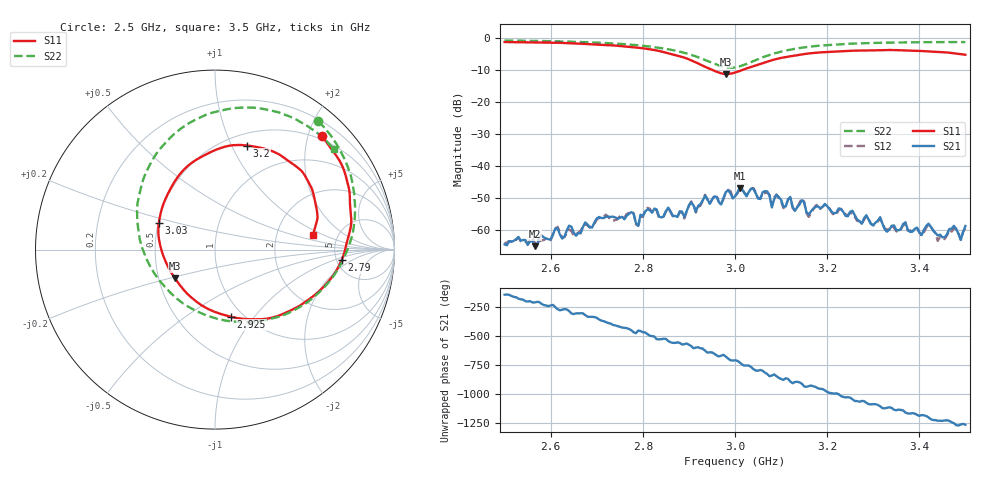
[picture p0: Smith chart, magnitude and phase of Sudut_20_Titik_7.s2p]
# Hz S RI R 50
! CMT, C1220, 16058040, 17.2.0/1
! Date: 15/08/2018 10:02:03
! Data: Format (Calibration Info)
! Freq  S11: Re/Im (F2)  S21: Re/Im (F2)  S12: Re/Im (F2)  S22: Re/Im (F2)
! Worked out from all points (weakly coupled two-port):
!   201 points, 2.5 GHz to 3.5 GHz, reference 50 ohm
!   highest |S21| = -46.73 dB at 3.01 GHz (marker M1); lowest = -64.9 dB at 2.565 GHz (marker M2)
!   lowest |S11| = -11.2 dB at 2.98 GHz (marker M3), VSWR 1.76, Z = 30.4 - j10.5 ohm
!   |S11| at or under -10 dB: 2.952 GHz to 3.015 GHz (62.96 MHz wide, 2.11 % of centre)
!   |S22| runs from -9.2 to -0.7 dB; largest |S21 - S12| = 0.00036
!   S11 on the Smith chart (normalised r, x): 2.5 GHz: 0.44, +2.24; 2.79 GHz: 5.54, -1.31; 2.925 GHz: 0.88, -0.77; 3.03 GHz: 0.50, +0.17; 3.2 GHz: 0.62, +1.14; 3.5 GHz: 3.26, +0.74
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2.5e9  0.5936 0.6327  -0.000505 -0.000337  -0.000507 -0.000372  0.5762 0.7148
2.565e9  0.6627 0.5416  -0.000474 0.000315  -0.000453 0.000473  0.648 0.6317
2.67e9  0.7493 0.3221  0.000679 0.000905  0.000734 0.000898  0.7476 0.4397
2.775e9  0.7257 0.00317  -5.59e-05 -0.00193  -0.000147 -0.00201  0.7751 0.1458
2.79e9  0.7059 -0.0589  -0.000101 -0.00118  -0.000148 -0.00117  0.7675 0.0931
2.81e9  0.6639 -0.1362  -0.00122 -0.00175  -0.00127 -0.00186  0.7459 0.0183
2.835e9  0.5888 -0.2237  -0.00163 -0.000281  -0.00155 -0.000313  0.7023 -0.0784
2.925e9  0.09 -0.3744  -0.00102 0.00236  -0.00109 0.00218  0.2918 -0.3902
2.97e9  -0.1801 -0.2175  0.00163 0.00195  0.00164 0.00193  -0.0663 -0.3588
2.98e9  -0.2231 -0.1603  0.00297 0.00265  0.00277 0.00274  -0.1454 -0.3203
3e9  -0.2874 -0.0363  0.00334 0.000597  0.00343 0.000451  -0.2799 -0.2062
3.01e9  -0.3058 0.0256  0.00457 -0.000623  0.00439 -0.000549  -0.3348 -0.1369
3.03e9  -0.3136 0.1461  0.00324 -0.00234  0.00318 -0.0024  -0.408 0.0165
3.17e9  0.0852 0.5797  -0.00183 0.0012  -0.00187 0.00105  -0.0713 0.7417
3.2e9  0.1766 0.5799  -0.000338 0.00238  -0.000173 0.00239  0.04 0.7759
3.335e9  0.482 0.4384  0.000856 -0.000573  0.000836 -0.000657  0.4138 0.7424
3.405e9  0.5501 0.303  -0.000159 -0.00083  -0.000181 -0.000814  0.5385 0.6721
3.42e9  0.558 0.2656  -0.000643 -0.00111  -0.000608 -0.00108  0.5615 0.6567
3.44e9  0.5678 0.2168  -0.000719 -0.000424  -0.000594 -0.000345  0.5905 0.6326
3.475e9  0.5622 0.14  -0.00116 -0.000197  -0.00105 -0.000234  0.6343 0.5912
3.49e9  0.5521 0.1035  -0.000713 2.04e-05  -0.000706 9.22e-05  0.6513 0.5722
3.5e9  0.544 0.0798  -0.00117 7.57e-05  -0.00108 8.07e-05  0.662 0.5603
